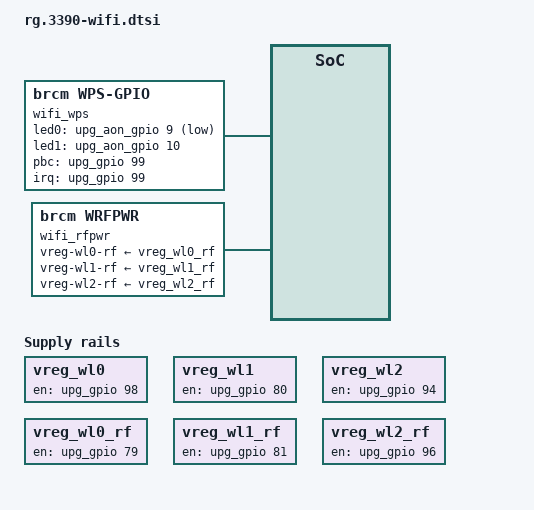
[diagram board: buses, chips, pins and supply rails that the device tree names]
&rsvd_rg_memc0 {	
	reg = <0x0 0x4000000 0x0 0x9c00000>;   /* TCH: Size reduced from 0xdc00000 to 0x9c00000 */
};

&fpm {
	reg = <0x0 0x0bc00000 0x0 0x02000000>,	/* Free Pool 0			*/
	      <0x0 0xd3a00000 0x0 0x30133>,	    /* Registers			*/
	      <0x0 0x0 0x0 0x0>;               /* Free Pool 1 - TCH: Disabled second FPM pool*/
	chunk-size = <512>;
	net-buf-head-pad = <240>;
	net-buf-tail-pad = <256>;
};

&runner {
	reg = <0x0 0xd5000000 0x0 0x000fc460>,	/* Registers			*/
	      <0x0 0x09c00000 0x0 0x02000000>,	/* Runner Extra Memory 0	*/
	      <0x0 0x0 0x0 0x0>,                /* Runner Extra Memory 1 - TCH: Disabled second FPM pool */
	      <0x0 0x09500000 0x0 0x00700000>;	/* Runner NAT Cache		*/
	freq = <800>;				/* MHz				*/
	lag-ports = < 0 1 2 >;
};

/ {
	vreg_wl0: vreg-wl0 {
		compatible = "regulator-fixed";
		regulator-name = "vreg-wl0";
		regulator-min-microvolt = <0>;
		regulator-max-microvolt = <0>;
		gpio = <&upg_gpio 98 0>;
		enable-active-high;
		regulator-boot-on;
	};

	vreg_wl1: vreg-wl1 {
		compatible = "regulator-fixed";
		regulator-name = "vreg-wl1";
		regulator-min-microvolt = <0>;
		regulator-max-microvolt = <0>;
		gpio = <&upg_gpio 80 0>;
		enable-active-high;
		regulator-boot-on;
	};

	vreg_wl2: vreg-wl2 {
		compatible = "regulator-fixed";
		regulator-name = "vreg-wl2";
		regulator-min-microvolt = <0>;
		regulator-max-microvolt = <0>;
		gpio = <&upg_gpio 94 0>;
		enable-active-high;
		regulator-boot-on;
	};

	vreg_wl0_rf: vreg-wl0-rf {
		compatible = "regulator-fixed";
		regulator-name = "vreg-wl0-rf";
		regulator-min-microvolt = <0>;
		regulator-max-microvolt = <0>;
		gpio = <&upg_gpio 79 0>;
		enable-active-high;
	};

	vreg_wl1_rf: vreg-wl1-rf {
		compatible = "regulator-fixed";
		regulator-name = "vreg-wl1-rf";
		regulator-min-microvolt = <0>;
		regulator-max-microvolt = <0>;
		gpio = <&upg_gpio 81 0>;
		enable-active-high;
	};

	vreg_wl2_rf: vreg-wl2-rf {
		compatible = "regulator-fixed";
		regulator-name = "vreg-wl2-rf";
		regulator-min-microvolt = <0>;
		regulator-max-microvolt = <0>;
		gpio = <&upg_gpio 96 0>;
		enable-active-high;
	};

	wifi_wps: wifi_wps {
		compatible = "brcm,wps-gpio";
		dev-name = "wps-gpio";
		led0-gpio = <&upg_aon_gpio 9 1>;
		led1-gpio = <&upg_aon_gpio 10 0>;
		pbc-gpio = <&upg_gpio 99 0>;
		interrupt-parent = <&upg_gpio>;
		interrupts = <99 3>;
	};

	wifi_rfpwr: wifi_rfpwr {
		compatible = "brcm,wrfpwr";
		dev-name = "wrfpwr";
	};

	netdev_rfap: netdev_rfap {
		compatible = "brcm,netdev-rfap";
		dev-name = "wl%d";
		num-ifs  = <2>;
		wl0: wl0 {
			compatible = "brcm,netdev-rfap";
			rx-q = <33>;
			tx-q = <56>;
			dqm-block = "cpucomm";
			rdpa-if-ssid = <0 1 2 3 4 5 6 7>;
		};
		wl1: wl1 {
			compatible = "brcm,netdev-rfap";
			rx-q = <33>;
			tx-q = <58>;
			dqm-block = "cpucomm";
			rdpa-if-ssid = <8 9 10 11 12 13 14 15>;
		};
	};

	wler_rfap:  wler_rfap {
		compatible = "brcm,wler-rfap";
		dev-names = "wl0 wl1 wl2";
	};
};

&pcie0 {
	supply-names = "vreg-wl0";
	vreg-wl0-supply = <&vreg_wl0>;
};

&pcie1 {
	supply-names = "vreg-wl1";
	vreg-wl1-supply = <&vreg_wl1>;
};

&pcie2 {
	supply-names = "vreg-wl2";
	vreg-wl2-supply = <&vreg_wl2>;
};

&wifi_rfpwr {
        supply-names = "vreg-wl0-rf", "vreg-wl1-rf", "vreg-wl2-rf";
        vreg-wl0-rf-supply = <&vreg_wl0_rf>;
        vreg-wl1-rf-supply = <&vreg_wl1_rf>;
        vreg-wl2-rf-supply = <&vreg_wl2_rf>;
};

&dqm {
	#qsm-alloc-str-cells	= <8>;
	/* Following Queues are reserved but not used */
	/* 36 : STB DS Forward (STB-->Runner)         */
	/* 37 : STB US Forward (STB-->Runner)         */
	/* 38 : STB DS Egress  (STB-->Runner)         */
	/* 39 : STB US Egress  (STB-->Runner)         */
	/* 44 : Viper DS Forward (DFAP-->Runner)      */
	/* 45 : Viper US Forward (DFAP-->Runner)      */
	/* 46 : Viper DS Egress  (DFAP-->Runner)      */
	/* Q #, # words/element, # elements (depth), offload(1)/non-offload(0), LWM, HWM, timeout(ns), Name */
	qsm-allocation-str	= "2",   "4",  "8",     "1", "2",    "1",    "0",    "RPC RG-->CM",
				  "3",   "4",  "8",     "1", "2",    "1",    "0",    "RPC RG<--CM",
				  "6",   "4",  "8",     "1", "2",    "1",    "0",    "RPC STB-->CM",
				  "7",   "4",  "8",     "1", "2",    "1",    "0",    "RPC STB<--CM",
				  "8",   "4",  "8",     "1", "2",    "1",    "0",    "RPC DECT-->CM",
				  "9",   "4",  "8",     "1", "2",    "1",    "0",    "RPC DECT<--CM",
				  "14",  "2",  "16",    "1", "4",    "1",    "0",    "Private Network RG-->CM",
				  "15",  "2",  "64",    "1", "4",    "1",    "0",    "Private Network RG<--CM",
				  "20",  "4",  "8",     "1", "2",    "1",    "0",    "RPC SVM-->CM",
				  "21",  "4",  "8",     "1", "2",    "1",    "0",    "RPC SVM<--CM",
				  "32",  "4",  "64",    "1", "16",   "1",    "0",    "RG DS Forward (RG-->Runner)",
				  "33",  "4",  "2048",  "1", "512",  "1",    "0",    "WiFi US Forward (WiFi-->Runner)",
				  "34",  "4",  "64",    "1", "16",   "1",    "0",    "RG DS Egress (RG-->Runner)",
				  "35",  "4",  "64",    "1", "16",   "1",    "0",    "RG US Egress (RG-->Runner)",
				  "47",  "2",  "4000",  "1", "512",  "1",    "0",    "SKB Prealloc (RG-->Runner)",
				  "48",  "4",  "4000",  "1", "64",   "64",   "1000", "RG Exception LAN (Runner-->RG)",
				  "49",  "4",  "256",   "1", "64",   "1",    "0",    "RG Exception Ctl (Runner-->RG)",
				  "50",  "4",  "4000",  "1", "64",   "64",   "1000", "RG Exception WAN (Runner-->RG)",
				  "51",  "4",  "4000",  "1", "64",   "64",   "1000", "RG Expected 0    (Runner-->RG)",
				  "52",  "4",  "4000",  "1", "64",   "64",   "1000", "RG Expected 1    (Runner-->RG)",
				  "53",  "4",  "4000",  "1", "64",   "64",   "1000", "RG Expected 2    (Runner-->RG)",
				  "54",  "4",  "4000",  "1", "64",   "64",   "1000", "RG Expected 3    (Runner-->RG)",
				  "55",  "1",  "4000",  "1", "16",   "1000", "0",    "SKB Recycle (Runner-->RG)",
				  "56",  "4",  "2000",  "1", "1000", "64",   "6000", "WiFi 0 DS (Runner-->WiFi)",
				  "57",  "4",  "2000",  "1", "1000", "1",    "0",    "WiFi 0 DS (Runner-->WiFi)",
				  "58",  "4",  "2000",  "1", "1000", "64",   "6000", "WiFi 1 DS (Runner-->WiFi)",
				  "59",  "4",  "2000",  "1", "1000", "1",    "0",    "WiFi 1 DS (Runner-->WiFi)",
				  "60",  "4",  "2000",  "1", "1000", "64",   "6000", "WiFi 2 DS (Runner-->WiFi)",
				  "61",  "4",  "2000",  "1", "1000", "1",    "0",    "WiFi 2 DS (Runner-->WiFi)";
};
